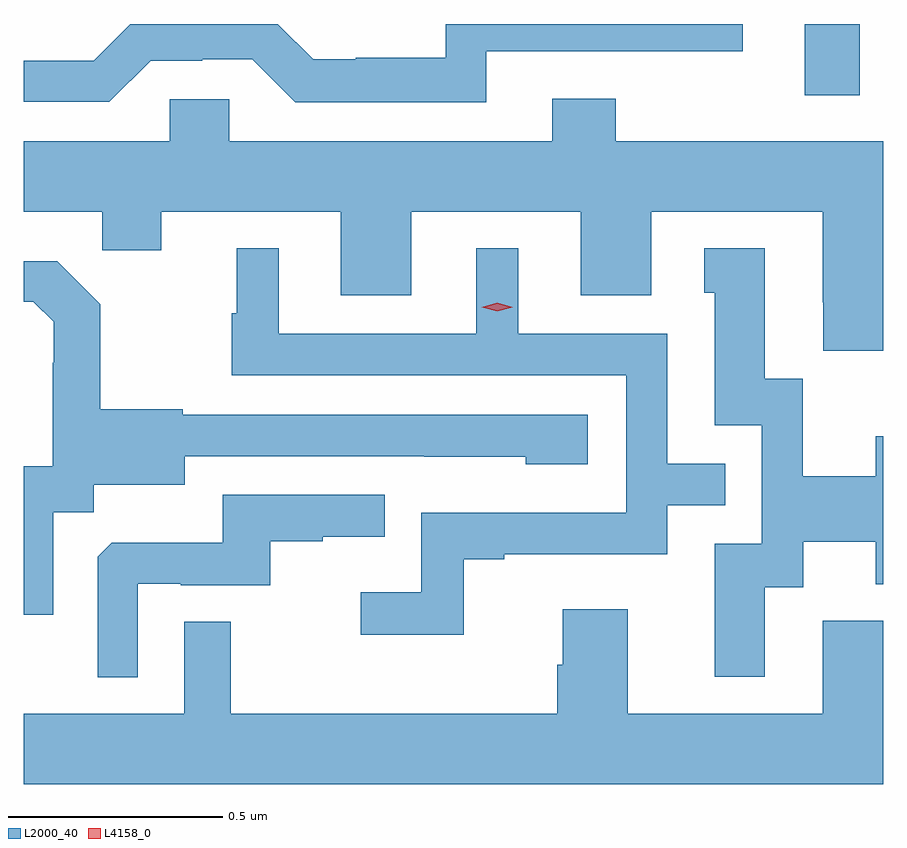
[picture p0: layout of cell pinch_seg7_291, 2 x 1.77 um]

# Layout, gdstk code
import gdstk
lib = gdstk.Library(unit=1e-6, precision=1e-09)
def R(c, l, rs):  # rectangles x0, y0, x1, y1
    for r in rs: c.add(gdstk.rectangle(r[:2], r[2:], *l))
def P(c, l, *ps):  # polygons
    for p in ps: c.add(gdstk.Polygon(p, *l))
L2000_40 = (2000, 40)
L4158_0 = (4158, 0)

pinch_seg7_291 = lib.new_cell('pinch_seg7_291')
R(pinch_seg7_291, L2000_40, [(628.271,1028.859,628.399,1029.025)])
P(pinch_seg7_291, L2000_40, [(627.529,1028.961),(628.126,1028.961),(628.126,1029.025),(627.435,1029.025),(627.435,1028.947),(627.226,1028.947),(627.226,1028.943),(627.126,1028.943),(627.044,1029.025),(626.701,1029.025),(626.616,1028.94),(626.453,1028.94),(626.453,1028.844),(626.652,1028.844),(626.748,1028.94),(626.868,1028.94),(626.868,1028.943),(626.985,1028.943),(627.085,1028.843),(627.529,1028.843)],
  [(628.453,1028.752),(627.831,1028.752),(627.831,1028.851),(627.683,1028.851),(627.683,1028.752),(626.931,1028.752),(626.931,1028.85),(626.793,1028.85),(626.793,1028.752),(626.453,1028.752),(626.453,1028.588),(626.635,1028.588),(626.635,1028.498),(626.773,1028.498),(626.773,1028.588),(627.191,1028.588),(627.191,1028.394),(627.355,1028.394),(627.355,1028.588),(627.749,1028.588),(627.749,1028.394),(627.913,1028.394),(627.913,1028.588),(628.313,1028.588),(628.313,1028.377),(628.314,1028.377),(628.314,1028.265),(628.453,1028.265)],
  [(628.177,1027.714),(628.267,1027.714),(628.267,1027.82),(628.436,1027.82),(628.436,1027.721),(628.453,1027.721),(628.453,1028.065),(628.436,1028.065),(628.436,1027.972),(628.266,1027.972),(628.266,1028.199),(628.177,1028.199),(628.177,1028.503),(628.037,1028.503),(628.037,1028.4),(628.061,1028.4),(628.061,1028.091),(628.17,1028.091),(628.17,1027.815),(628.061,1027.815),(628.061,1027.506),(628.177,1027.506)],
  [(627.477,1027.779),(627.571,1027.779),(627.571,1027.791),(627.951,1027.791),(627.951,1027.905),(628.085,1027.905),(628.085,1028.001),(627.951,1028.001),(627.951,1028.304),(627.604,1028.304),(627.604,1028.503),(627.506,1028.503),(627.506,1028.304),(627.046,1028.304),(627.046,1028.503),(626.948,1028.503),(626.948,1028.352),(626.937,1028.352),(626.937,1028.208),(627.855,1028.208),(627.855,1027.887),(627.378,1027.887),(627.378,1027.702),(627.237,1027.702),(627.237,1027.603),(627.477,1027.603)],
  [(626.521,1027.888),(626.616,1027.888),(626.616,1027.952),(626.827,1027.952),(626.827,1028.019),(627.385,1028.019),(627.385,1028.018),(627.621,1028.018),(627.621,1028),(627.766,1028),(627.766,1028.115),(626.823,1028.115),(626.823,1028.128),(626.631,1028.128),(626.631,1028.373),(626.531,1028.473),(626.453,1028.473),(626.453,1028.379),(626.475,1028.379),(626.522,1028.332),(626.522,1028.237),(626.52,1028.237),(626.52,1027.996),(626.453,1027.996),(626.453,1027.65),(626.521,1027.65)],
  [(626.718,1027.722),(626.818,1027.722),(626.818,1027.719),(627.026,1027.719),(627.026,1027.821),(627.149,1027.821),(627.149,1027.832),(627.293,1027.832),(627.293,1027.929),(626.916,1027.929),(626.916,1027.817),(626.657,1027.817),(626.625,1027.785),(626.625,1027.505),(626.718,1027.505)],
  [(628.453,1027.636),(628.313,1027.636),(628.313,1027.42),(627.859,1027.42),(627.859,1027.663),(627.707,1027.663),(627.707,1027.533),(627.695,1027.533),(627.695,1027.42),(626.935,1027.42),(626.935,1027.634),(626.826,1027.634),(626.826,1027.42),(626.453,1027.42),(626.453,1027.256),(628.453,1027.256)])
P(pinch_seg7_291, L4158_0, [(627.555,1028.356),(627.519,1028.366),(627.519,1028.366),(627.519,1028.366),(627.555,1028.376),(627.591,1028.366),(627.591,1028.366),(627.591,1028.366)])

lib.write_gds('pinch_seg7_291.gds')
